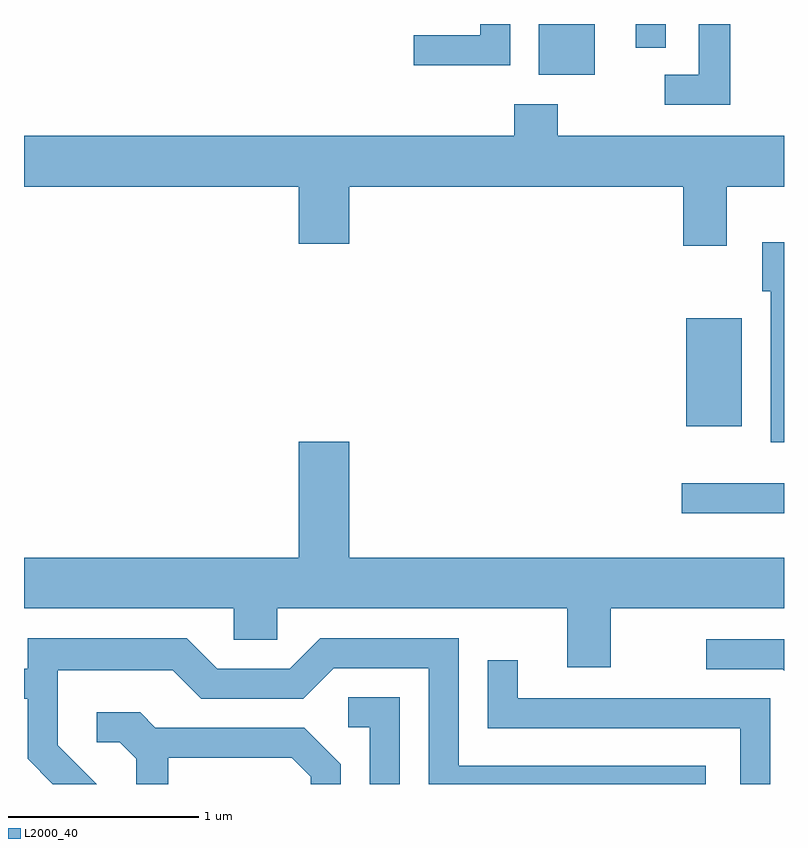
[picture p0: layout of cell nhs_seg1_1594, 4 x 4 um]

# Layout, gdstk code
import gdstk
lib = gdstk.Library(unit=1e-6, precision=1e-09)
def R(c, l, rs):  # rectangles x0, y0, x1, y1
    for r in rs: c.add(gdstk.rectangle(r[:2], r[2:], *l))
def P(c, l, *ps):  # polygons
    for p in ps: c.add(gdstk.Polygon(p, *l))
L2000_40 = (2000, 40)

nhs_seg1_1594 = lib.new_cell('nhs_seg1_1594')
R(nhs_seg1_1594, L2000_40, [(237.073,951.136,237.611,951.294), (237.096,951.596,237.389,952.164), (236.321,953.446,236.614,953.712), (236.831,953.588,236.989,953.712)])
P(nhs_seg1_1594, L2000_40, [(236.169,953.712),(236.011,953.712),(236.011,953.654),(235.663,953.654),(235.663,953.496),(236.169,953.496)],
  [(237.329,953.712),(237.161,953.712),(237.161,953.444),(236.983,953.444),(236.983,953.286),(237.329,953.286)],
  [(237.309,952.856),(237.611,952.856),(237.611,953.124),(236.419,953.124),(236.419,953.289),(236.191,953.289),(236.191,953.124),(233.611,953.124),(233.611,952.856),(235.056,952.856),(235.056,952.556),(235.324,952.556),(235.324,952.856),(237.081,952.856),(237.081,952.546),(237.309,952.546)],
  [(237.611,952.564),(237.496,952.564),(237.496,952.306),(237.541,952.306),(237.541,951.511),(237.611,951.511)],
  [(236.699,950.636),(237.611,950.636),(237.611,950.904),(235.324,950.904),(235.324,951.514),(235.056,951.514),(235.056,950.904),(233.611,950.904),(233.611,950.636),(234.716,950.636),(234.716,950.471),(234.944,950.471),(234.944,950.636),(236.471,950.636),(236.471,950.326),(236.699,950.326)],
  [(233.789,949.917),(233.789,950.311),(234.394,950.311),(234.544,950.161),(235.082,950.161),(235.242,950.321),(235.741,950.321),(235.741,949.712),(237.199,949.712),(237.199,949.809),(235.899,949.809),(235.899,950.479),(235.169,950.479),(235.009,950.319),(234.627,950.319),(234.467,950.479),(233.631,950.479),(233.631,950.319),(233.611,950.319),(233.611,950.161),(233.631,950.161),(233.631,949.844),(233.763,949.712),(233.994,949.712)],
  [(237.611,950.474),(237.203,950.474),(237.203,950.316),(237.604,950.316),(237.611,950.309)],
  [(237.539,950.164),(236.209,950.164),(236.209,950.363),(236.051,950.363),(236.051,950.006),(237.381,950.006),(237.381,949.712),(237.539,949.712)],
  [(235.589,950.169),(235.318,950.169),(235.318,950.011),(235.431,950.011),(235.431,949.712),(235.589,949.712)],
  [(234.369,949.851),(235.019,949.851),(235.121,949.749),(235.121,949.712),(235.279,949.712),(235.279,949.817),(235.087,950.009),(234.302,950.009),(234.222,950.089),(233.993,950.089),(233.993,949.931),(234.114,949.931),(234.201,949.844),(234.201,949.712),(234.369,949.712)])

lib.write_gds('nhs_seg1_1594.gds')
